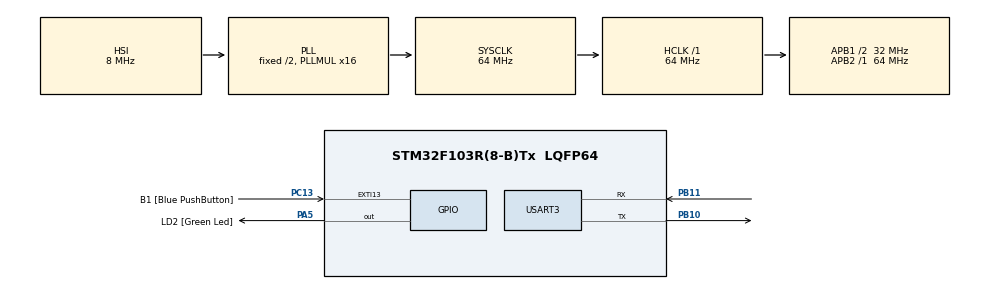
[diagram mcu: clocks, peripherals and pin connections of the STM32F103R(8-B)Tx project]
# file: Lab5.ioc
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FREERTOS.Tasks01=blink01,32,128,StartBlink01,Default,NULL,Dynamic,NULL,NULL;TransmitReceive,24,128,RxTx,Default,NULL,Dynamic,NULL,NULL;CLI,16,128,UpdateCLI,Default,NULL,Dynamic,NULL,NULL
Mcu.Family=STM32F1
Mcu.Name=STM32F103R(8-B)Tx
Mcu.Package=LQFP64
NVIC.EXTI15_10_IRQn=true\:0\:0\:false\:false\:true\:false\:true\:true
NVIC.PriorityGroup=NVIC_PRIORITYGROUP_4
NVIC.TIM4_IRQn=true\:0\:0\:false\:false\:true\:false\:false\:true
NVIC.TimeBase=TIM4_IRQn
NVIC.TimeBaseIP=TIM4
PA13.GPIO_Label=TMS
PA13.Mode=Serial_Wire
PA13.Signal=SYS_JTMS-SWDIO
PA14.GPIO_Label=TCK
PA14.Mode=Serial_Wire
PA14.Signal=SYS_JTCK-SWCLK
PA2.GPIO_Label=USART_TX
PA2.GPIO_Mode=GPIO_MODE_AF_PP
PA2.GPIO_PuPd=GPIO_NOPULL
PA2.GPIO_Speed=GPIO_SPEED_FREQ_LOW
PA2.Signal=USART2_TX
PA3.GPIO_Label=USART_RX
PA3.GPIO_Mode=GPIO_MODE_AF_PP
PA3.GPIO_PuPd=GPIO_NOPULL
PA3.GPIO_Speed=GPIO_SPEED_FREQ_LOW
PA3.Signal=USART2_RX
PA5.GPIO_Label=LD2 [Green Led]
PA5.GPIO_ModeDefaultOutputPP=GPIO_MODE_OUTPUT_PP
PA5.GPIO_PuPd=GPIO_NOPULL
PA5.GPIO_Speed=GPIO_SPEED_FREQ_LOW
PA5.Signal=GPIO_Output
PB10.Mode=Asynchronous
PB10.Signal=USART3_TX
PB11.Mode=Asynchronous
PB11.Signal=USART3_RX
PB3.GPIO_Label=SWO
PB3.Signal=SYS_JTDO-TRACESWO
PC13-TAMPER-RTC.GPIO_Label=B1 [Blue PushButton]
PC13-TAMPER-RTC.GPIO_PuPd=GPIO_NOPULL
PC13-TAMPER-RTC.Signal=GPXTI13
PC14-OSC32_IN.Mode=LSE-External-Oscillator
PC14-OSC32_IN.Signal=RCC_OSC32_IN
PC15-OSC32_OUT.Mode=LSE-External-Oscillator
PC15-OSC32_OUT.Signal=RCC_OSC32_OUT
PD0-OSC_IN.Mode=HSE-External-Clock-Source
PD0-OSC_IN.Signal=RCC_OSC_IN
PD1-OSC_OUT.Mode=HSE-External-Clock-Source
PD1-OSC_OUT.Signal=RCC_OSC_OUT
ProjectManager.HeapSize=0x200
ProjectManager.StackSize=0x400
ProjectManager.TargetToolchain=STM32CubeIDE
RCC.AHBFreq_Value=64000000
RCC.APB1CLKDivider=RCC_HCLK_DIV2
RCC.APB1Freq_Value=32000000
RCC.APB1TimFreq_Value=64000000
RCC.APB2Freq_Value=64000000
RCC.APB2TimFreq_Value=64000000
RCC.HCLKFreq_Value=64000000
RCC.PLLMUL=RCC_PLL_MUL16
RCC.RTCClockSelection=RCC_RTCCLKSOURCE_LSE
RCC.SYSCLKFreq_VALUE=64000000
RCC.SYSCLKSource=RCC_SYSCLKSOURCE_PLLCLK
RCC.USBFreq_Value=64000000
USART3.VirtualMode=VM_ASYNC
VP_FREERTOS_VS_CMSIS_V2.Mode=CMSIS_V2
VP_SYS_VS_tim4.Mode=TIM4
board=NUCLEO-F103RB

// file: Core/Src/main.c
/* USER CODE BEGIN Header */
/**
  ******************************************************************************
  * @file           : main.c
  * @brief          : Main program body
  ******************************************************************************
  * @attention
  *
  * <h2><center>&copy; Copyright (c) 2020 STMicroelectronics.
  * All rights reserved.</center></h2>
  *
  * This software component is licensed by ST under BSD 3-Clause license,
  * the "License"; You may not use this file except in compliance with the
  * License. You may obtain a copy of the License at:
  *                        opensource.org/licenses/BSD-3-Clause
  *
  ******************************************************************************
  */
/* USER CODE END Header */
#include "main.h"
#include "cmsis_os.h"

/* USER CODE BEGIN Includes */
#include "./lib/cli.h"
/* USER CODE END Includes */

UART_HandleTypeDef huart3;

/* Definitions for blink01 */
osThreadId_t blink01Handle;
const osThreadAttr_t blink01_attributes = {
  .name = "blink01",
  .priority = (osPriority_t) osPriorityAboveNormal,
  .stack_size = 128 * 4
};
/* Definitions for TransmitReceive */
osThreadId_t TransmitReceiveHandle;
const osThreadAttr_t TransmitReceive_attributes = {
  .name = "TransmitReceive",
  .priority = (osPriority_t) osPriorityNormal,
  .stack_size = 128 * 4
};
/* Definitions for CLI */
osThreadId_t CLIHandle;
const osThreadAttr_t CLI_attributes = {
  .name = "CLI",
  .priority = (osPriority_t) osPriorityBelowNormal,
  .stack_size = 128 * 4
};

void SystemClock_Config(void);
static void MX_GPIO_Init(void);
static void MX_USART3_UART_Init(void);
void StartBlink01(void *argument);
void RxTx(void *argument);
void UpdateCLI(void *argument);

int main(void)
{

  /* MCU Configuration--------------------------------------------------------*/

  /* Reset of all peripherals, Initializes the Flash interface and the Systick. */
  HAL_Init();

  /* Configure the system clock */
  SystemClock_Config();

  /* Initialize all configured peripherals */
  MX_GPIO_Init();
  MX_USART3_UART_Init();
  /* USER CODE BEGIN 2 */
  uint8_t temp[20];
  period_value = 500;
  sprintf(temp, "period:  %i", period_value);
  HAL_UART_Transmit(&huart3, temp, strlen((char *) temp), 1000);
  HAL_UART_Transmit(&huart3, "\x1b[8;r", 5, 1000);	//creates a scrollable cmd line
  HAL_UART_Transmit(&huart3, "\x1b[8;0H", 6, 1000);	//moves the cursor to row eight
  HAL_UART_Transmit(&huart3, "\x1b[1K", 4, 1000);	//clears the line

  showPrompt(huart3);
  //reset_info_buffer();
  reset_buffer();
  /* USER CODE END 2 */

  /* Init scheduler */
  osKernelInitialize();

  /* Create the thread(s) */
  /* creation of blink01 */
  blink01Handle = osThreadNew(StartBlink01, NULL, &blink01_attributes);

  /* creation of TransmitReceive */
  TransmitReceiveHandle = osThreadNew(RxTx, NULL, &TransmitReceive_attributes);

  /* creation of CLI */
  CLIHandle = osThreadNew(UpdateCLI, NULL, &CLI_attributes);

  /* Start scheduler */
  osKernelStart();

  /* We should never get here as control is now taken by the scheduler */
  /* Infinite loop */
  while (1)
  {

  }
}

void SystemClock_Config(void)
{
  RCC_OscInitTypeDef RCC_OscInitStruct = {0};
  RCC_ClkInitTypeDef RCC_ClkInitStruct = {0};

  /** Initializes the RCC Oscillators according to the specified parameters
  * in the RCC_OscInitTypeDef structure.
  */
  RCC_OscInitStruct.OscillatorType = RCC_OSCILLATORTYPE_HSI;
  RCC_OscInitStruct.HSIState = RCC_HSI_ON;
  RCC_OscInitStruct.HSICalibrationValue = RCC_HSICALIBRATION_DEFAULT;
  RCC_OscInitStruct.PLL.PLLState = RCC_PLL_ON;
  RCC_OscInitStruct.PLL.PLLSource = RCC_PLLSOURCE_HSI_DIV2;
  RCC_OscInitStruct.PLL.PLLMUL = RCC_PLL_MUL16;
  if (HAL_RCC_OscConfig(&RCC_OscInitStruct) != HAL_OK)
  {
    Error_Handler();
  }
  /** Initializes the CPU, AHB and APB buses clocks
  */
  RCC_ClkInitStruct.ClockType = RCC_CLOCKTYPE_HCLK|RCC_CLOCKTYPE_SYSCLK
                              |RCC_CLOCKTYPE_PCLK1|RCC_CLOCKTYPE_PCLK2;
  RCC_ClkInitStruct.SYSCLKSource = RCC_SYSCLKSOURCE_PLLCLK;
  RCC_ClkInitStruct.AHBCLKDivider = RCC_SYSCLK_DIV1;
  RCC_ClkInitStruct.APB1CLKDivider = RCC_HCLK_DIV2;
  RCC_ClkInitStruct.APB2CLKDivider = RCC_HCLK_DIV1;

  if (HAL_RCC_ClockConfig(&RCC_ClkInitStruct, FLASH_LATENCY_2) != HAL_OK)
  {
    Error_Handler();
  }
}

static void MX_USART3_UART_Init(void)
{

  huart3.Instance = USART3;
  huart3.Init.BaudRate = 115200;
  huart3.Init.WordLength = UART_WORDLENGTH_8B;
  huart3.Init.StopBits = UART_STOPBITS_1;
  huart3.Init.Parity = UART_PARITY_NONE;
  huart3.Init.Mode = UART_MODE_TX_RX;
  huart3.Init.HwFlowCtl = UART_HWCONTROL_NONE;
  huart3.Init.OverSampling = UART_OVERSAMPLING_16;
  if (HAL_UART_Init(&huart3) != HAL_OK)
  {
    Error_Handler();
  }

}

static void MX_GPIO_Init(void)
{
  GPIO_InitTypeDef GPIO_InitStruct = {0};

  /* GPIO Ports Clock Enable */
  __HAL_RCC_GPIOC_CLK_ENABLE();
  __HAL_RCC_GPIOD_CLK_ENABLE();
  __HAL_RCC_GPIOA_CLK_ENABLE();
  __HAL_RCC_GPIOB_CLK_ENABLE();

  /*Configure GPIO pin Output Level */
  HAL_GPIO_WritePin(LD2_GPIO_Port, LD2_Pin, GPIO_PIN_RESET);

  /*Configure GPIO pin : B1_Pin */
  GPIO_InitStruct.Pin = B1_Pin;
  GPIO_InitStruct.Mode = GPIO_MODE_IT_RISING;
  GPIO_InitStruct.Pull = GPIO_NOPULL;
  HAL_GPIO_Init(B1_GPIO_Port, &GPIO_InitStruct);

  /*Configure GPIO pins : USART_TX_Pin USART_RX_Pin */
  GPIO_InitStruct.Pin = USART_TX_Pin|USART_RX_Pin;
  GPIO_InitStruct.Mode = GPIO_MODE_AF_PP;
  GPIO_InitStruct.Speed = GPIO_SPEED_FREQ_LOW;
  HAL_GPIO_Init(GPIOA, &GPIO_InitStruct);

  /*Configure GPIO pin : LD2_Pin */
  GPIO_InitStruct.Pin = LD2_Pin;
  GPIO_InitStruct.Mode = GPIO_MODE_OUTPUT_PP;
  GPIO_InitStruct.Pull = GPIO_NOPULL;
  GPIO_InitStruct.Speed = GPIO_SPEED_FREQ_LOW;
  HAL_GPIO_Init(LD2_GPIO_Port, &GPIO_InitStruct);

  /* EXTI interrupt init*/
  HAL_NVIC_SetPriority(EXTI15_10_IRQn, 0, 0);
  HAL_NVIC_EnableIRQ(EXTI15_10_IRQn);

}

void StartBlink01(void *argument)
{
  /* USER CODE BEGIN 5 */
  /* Infinite loop */
  for(;;)
  {
	  HAL_GPIO_TogglePin(GPIOA, GPIO_PIN_5);
	  osDelay(period_value);	//allows the scheduler to run other tasks while waiting
  }

  //In case we accidentally exit the task loop
  osTheadTerminate(NULL);
  /* USER CODE END 5 */
}

void RxTx(void *argument)
{
  /* USER CODE BEGIN RxTx */
  /* Infinite loop */
  for(;;)
  {
	bool isEnterPressed = false;
	isEnterPressed = buildCmd(huart3);	//checks if enter key is pressed
	if (isEnterPressed) {
		doCommand(huart3);
		showPrompt(huart3);
	}
    osDelay(1);
  }
  /* USER CODE END RxTx */
}

void UpdateCLI(void *argument)
{
  /* USER CODE BEGIN UpdateCLI */
	uint8_t test[20];
	uint32_t oldVal = 0;
  /* Infinite loop */
  for(;;)
  {
	  if (oldVal != period_value){
		HAL_UART_Transmit(&huart3, "\x1b[s", 3, 1000);	//saves the current position of the cursor
		HAL_UART_Transmit(&huart3, "\x1b[0;0f", 7, 1000); //moves the cursor to the counter position
		HAL_UART_Transmit(&huart3, "\x1b[1K", 4, 1000);	//clears the line
		sprintf(test, "period: %i  ", period_value);
		HAL_UART_Transmit(&huart3, test, strlen((char *) test), 1000);
		HAL_UART_Transmit(&huart3, "\x1b[u", 3, 1000); //returns the cursor back to the cmd line
		oldVal = period_value;
		osDelay(1);
	  }
  }
  /* USER CODE END UpdateCLI */
}

void HAL_TIM_PeriodElapsedCallback(TIM_HandleTypeDef *htim)
{
  if (htim->Instance == TIM4) {
    HAL_IncTick();
  }
}

void Error_Handler(void)
{
}

/************************ (C) COPYRIGHT STMicroelectronics *****END OF FILE****/
